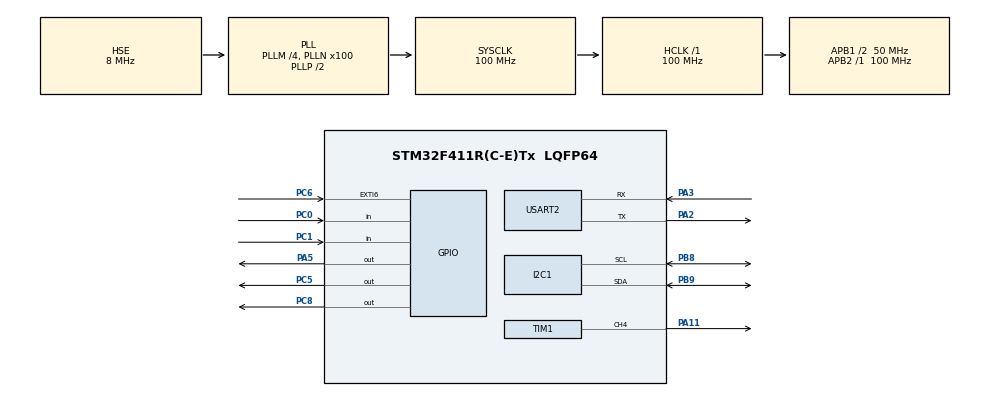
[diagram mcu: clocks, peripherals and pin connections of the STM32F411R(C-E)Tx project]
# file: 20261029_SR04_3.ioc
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Mcu.Family=STM32F4
Mcu.Name=STM32F411R(C-E)Tx
Mcu.Package=LQFP64
NVIC.EXTI9_5_IRQn=true\:0\:0\:false\:false\:true\:true\:true\:true
NVIC.PriorityGroup=NVIC_PRIORITYGROUP_4
PA11.Signal=S_TIM1_CH4
PA13.Mode=Serial_Wire
PA13.Signal=SYS_JTMS-SWDIO
PA14.Mode=Serial_Wire
PA14.Signal=SYS_JTCK-SWCLK
PA2.Mode=Asynchronous
PA2.Signal=USART2_TX
PA3.Mode=Asynchronous
PA3.Signal=USART2_RX
PA5.Signal=GPIO_Output
PB8.Mode=I2C
PB8.Signal=I2C1_SCL
PB9.Mode=I2C
PB9.Signal=I2C1_SDA
PC0.Signal=GPIO_Input
PC1.Signal=GPIO_Input
PC5.Signal=GPIO_Output
PC6.GPIO_ModeDefaultEXTI=GPIO_MODE_IT_RISING_FALLING
PC6.Signal=GPXTI6
PC8.Signal=GPIO_Output
PH0\ -\ OSC_IN.Mode=HSE-External-Oscillator
PH0\ -\ OSC_IN.Signal=RCC_OSC_IN
PH1\ -\ OSC_OUT.Mode=HSE-External-Oscillator
PH1\ -\ OSC_OUT.Signal=RCC_OSC_OUT
ProjectManager.HeapSize=0x200
ProjectManager.StackSize=0x400
ProjectManager.TargetToolchain=STM32CubeIDE
RCC.48MHZClocksFreq_Value=50000000
RCC.AHBFreq_Value=100000000
RCC.APB1CLKDivider=RCC_HCLK_DIV2
RCC.APB1Freq_Value=50000000
RCC.APB1TimFreq_Value=100000000
RCC.APB2Freq_Value=100000000
RCC.APB2TimFreq_Value=100000000
RCC.CortexFreq_Value=100000000
RCC.HCLKFreq_Value=100000000
RCC.HSE_VALUE=8000000
RCC.HSI_VALUE=16000000
RCC.LSE_VALUE=32768
RCC.PLLM=4
RCC.PLLN=100
RCC.PLLSourceVirtual=RCC_PLLSOURCE_HSE
RCC.SYSCLKFreq_VALUE=100000000
RCC.SYSCLKSource=RCC_SYSCLKSOURCE_PLLCLK
RCC.VCOOutputFreq_Value=200000000
SH.S_TIM1_CH4.0=TIM1_CH4,PWM Generation4 CH4
TIM1.AutoReloadPreload=TIM_AUTORELOAD_PRELOAD_ENABLE
TIM1.Channel-PWM\ Generation4\ CH4=TIM_CHANNEL_4
TIM1.Prescaler=100-1
TIM10.Prescaler=100-1
USART2.VirtualMode=VM_ASYNC
VP_TIM10_VS_ClockSourceINT.Mode=Enable_Timer
VP_TIM1_VS_ClockSourceINT.Mode=Internal
board=custom

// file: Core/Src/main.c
/* USER CODE BEGIN Header */
/**
 ******************************************************************************
 * @file           : main.c
 * @brief          : Main program body
 ******************************************************************************
 * @attention
 *
 * Copyright (c) 2026 STMicroelectronics.
 * All rights reserved.
 *
 * This software is licensed under terms that can be found in the LICENSE file
 * in the root directory of this software component.
 * If no LICENSE file comes with this software, it is provided AS-IS.
 *
 ******************************************************************************
 */
/* USER CODE END Header */
#include "main.h"

/* USER CODE BEGIN Includes */
#include "ap/ap_main.h"
#include "driver/button/button.h"
#include <stdio.h>
#include "star_walkin_notes.h"
/* USER CODE END Includes */

/* USER CODE BEGIN PD */
#define btn1_gpio GPIOC
#define btn1_pin GPIO_PIN_0
#define btn2_gpio GPIOC
#define btn2_pin GPIO_PIN_1
#define btn3_gpio GPIOC
#define btn3_pin GPIO_PIN_3
/* USER CODE END PD */

I2C_HandleTypeDef hi2c1;

TIM_HandleTypeDef htim1;
TIM_HandleTypeDef htim10;

UART_HandleTypeDef huart2;

void SystemClock_Config(void);
static void MX_GPIO_Init(void);
static void MX_USART2_UART_Init(void);
static void MX_I2C1_Init(void);
static void MX_TIM10_Init(void);
static void MX_TIM1_Init(void);

/* USER CODE BEGIN 0 */
/* TIM1 counter: 1 MHz. Zero Hz means silence. */
static void buzzer_set_hz(uint32_t hz, uint16_t duty)
{
    uint32_t period = hz ? (1000000U + hz / 2U) / hz : 1000U;
    __HAL_TIM_SET_AUTORELOAD(&htim1, period - 1U);
    __HAL_TIM_SET_COMPARE(&htim1, TIM_CHANNEL_4, hz ? period * duty / 100U : 0U);
    if (HAL_TIM_GenerateEvent(&htim1, TIM_EVENTSOURCE_UPDATE) != HAL_OK) {
        Error_Handler();
    }
}
//Needed for printf();
int __io_putchar(int ch) {
	HAL_UART_Transmit(&huart2, (uint8_t*) &ch, 1, HAL_MAX_DELAY);
	return ch;
}

/* USER CODE END 0 */

int main(void)
{

  /* MCU Configuration--------------------------------------------------------*/

  /* Reset of all peripherals, Initializes the Flash interface and the Systick. */
  HAL_Init();

  /* Configure the system clock */
  SystemClock_Config();

  /* Initialize all configured peripherals */
  MX_GPIO_Init();
  MX_USART2_UART_Init();
  MX_I2C1_Init();
  MX_TIM10_Init();
  MX_TIM1_Init();
  /* USER CODE BEGIN 2 */
// button structure declaration
    button_t btn_freq, btn_duty, btn_song;

  // Btn1 is allocated to PC0 to change frequency
  // Btn2 is allocated to PC1 to change duty cycle
  // Btn3 is allocated to PC3 to play song
    button_init(&btn_freq, btn1_gpio, btn1_pin);
    button_init(&btn_duty, btn2_gpio, btn2_pin);
    button_init(&btn_song, btn3_gpio, btn3_pin);

    // for play music
    uint8_t playing = 0, manual_enabled = 1;
    uint32_t started_ms = 0, note_index = 0;
    //default frequency, duty cycle
    uint32_t freq = 20U;
    uint16_t dutyCycle = 50U;

    uint32_t current_hz = freq;
    uint16_t current_duty = dutyCycle;

    buzzer_set_hz(freq, dutyCycle);
    if (HAL_TIM_PWM_Start(&htim1, TIM_CHANNEL_4) != HAL_OK) {
        Error_Handler();
    }
  /* USER CODE END 2 */

  /* Infinite loop */
  /* USER CODE BEGIN WHILE */
    printf("PC0: frequency, PC1: duty, PC3: song toggle\r\n");
    while (1)
    {
        if (button_getState(&btn_freq) == ACT_RELEASE) {
            freq += 100U + freq / 5U;
            if (freq > 20000U) {
                freq = 20U;
            }
            manual_enabled = 1;
            printf("freq = %lu Hz, duty = %u%%\r\n",
                   (unsigned long)freq, (unsigned int)dutyCycle);
        }
        if (button_getState(&btn_duty) == ACT_RELEASE) {
            dutyCycle += 10U;
            if (dutyCycle > 90U) {
                dutyCycle = 0U;
            }
            manual_enabled = 1;
            printf("freq = %lu Hz, duty = %u%%\r\n",
                   (unsigned long)freq, (unsigned int)dutyCycle);
        }
        if (button_getState(&btn_song) == ACT_RELEASE) {
            playing = !playing;
            manual_enabled = 0;
            if (playing) {
                note_index = 0;
                started_ms = HAL_GetTick();
            }
            printf("song = %s\r\n", playing ? "play" : "stop");
        }
        uint32_t hz = manual_enabled ? freq : 0U;
        if (playing) {
            uint32_t elapsed = HAL_GetTick() - started_ms;
            while (note_index < MELODY_COUNT && elapsed >= melody[note_index].end_ms) {
                note_index++;
            }
				hz = 0U;
            if (note_index == MELODY_COUNT) {
                playing = 0;
                manual_enabled = 0;
            } else if (elapsed >= melody[note_index].start_ms) {
                hz = melody[note_index].hz;
            }
        }
        if (hz != current_hz || dutyCycle != current_duty) {
            buzzer_set_hz(hz, dutyCycle);
            current_hz = hz;
            current_duty = dutyCycle;
        }
    }
    /* USER CODE END WHILE */

}

void SystemClock_Config(void)
{
  RCC_OscInitTypeDef RCC_OscInitStruct = {0};
  RCC_ClkInitTypeDef RCC_ClkInitStruct = {0};

  /** Configure the main internal regulator output voltage
  */
  __HAL_RCC_PWR_CLK_ENABLE();
  __HAL_PWR_VOLTAGESCALING_CONFIG(PWR_REGULATOR_VOLTAGE_SCALE1);

  /** Initializes the RCC Oscillators according to the specified parameters
  * in the RCC_OscInitTypeDef structure.
  */
  RCC_OscInitStruct.OscillatorType = RCC_OSCILLATORTYPE_HSE;
  RCC_OscInitStruct.HSEState = RCC_HSE_ON;
  RCC_OscInitStruct.PLL.PLLState = RCC_PLL_ON;
  RCC_OscInitStruct.PLL.PLLSource = RCC_PLLSOURCE_HSE;
  RCC_OscInitStruct.PLL.PLLM = 4;
  RCC_OscInitStruct.PLL.PLLN = 100;
  RCC_OscInitStruct.PLL.PLLP = RCC_PLLP_DIV2;
  RCC_OscInitStruct.PLL.PLLQ = 4;
  if (HAL_RCC_OscConfig(&RCC_OscInitStruct) != HAL_OK)
  {
    Error_Handler();
  }

  /** Initializes the CPU, AHB and APB buses clocks
  */
  RCC_ClkInitStruct.ClockType = RCC_CLOCKTYPE_HCLK|RCC_CLOCKTYPE_SYSCLK
                              |RCC_CLOCKTYPE_PCLK1|RCC_CLOCKTYPE_PCLK2;
  RCC_ClkInitStruct.SYSCLKSource = RCC_SYSCLKSOURCE_PLLCLK;
  RCC_ClkInitStruct.AHBCLKDivider = RCC_SYSCLK_DIV1;
  RCC_ClkInitStruct.APB1CLKDivider = RCC_HCLK_DIV2;
  RCC_ClkInitStruct.APB2CLKDivider = RCC_HCLK_DIV1;

  if (HAL_RCC_ClockConfig(&RCC_ClkInitStruct, FLASH_LATENCY_3) != HAL_OK)
  {
    Error_Handler();
  }
}

static void MX_I2C1_Init(void)
{

  hi2c1.Instance = I2C1;
  hi2c1.Init.ClockSpeed = 100000;
  hi2c1.Init.DutyCycle = I2C_DUTYCYCLE_2;
  hi2c1.Init.OwnAddress1 = 0;
  hi2c1.Init.AddressingMode = I2C_ADDRESSINGMODE_7BIT;
  hi2c1.Init.DualAddressMode = I2C_DUALADDRESS_DISABLE;
  hi2c1.Init.OwnAddress2 = 0;
  hi2c1.Init.GeneralCallMode = I2C_GENERALCALL_DISABLE;
  hi2c1.Init.NoStretchMode = I2C_NOSTRETCH_DISABLE;
  if (HAL_I2C_Init(&hi2c1) != HAL_OK)
  {
    Error_Handler();
  }

}

static void MX_TIM1_Init(void)
{

  TIM_ClockConfigTypeDef sClockSourceConfig = {0};
  TIM_MasterConfigTypeDef sMasterConfig = {0};
  TIM_OC_InitTypeDef sConfigOC = {0};
  TIM_BreakDeadTimeConfigTypeDef sBreakDeadTimeConfig = {0};

  htim1.Instance = TIM1;
  htim1.Init.Prescaler = 100-1;
  htim1.Init.CounterMode = TIM_COUNTERMODE_UP;
  htim1.Init.Period = 65535;
  htim1.Init.ClockDivision = TIM_CLOCKDIVISION_DIV1;
  htim1.Init.RepetitionCounter = 0;
  htim1.Init.AutoReloadPreload = TIM_AUTORELOAD_PRELOAD_ENABLE;
  if (HAL_TIM_Base_Init(&htim1) != HAL_OK)
  {
    Error_Handler();
  }
  sClockSourceConfig.ClockSource = TIM_CLOCKSOURCE_INTERNAL;
 if (HAL_TIM_ConfigClockSource(&htim1, &sClockSourceConfig) != HAL_OK)
  {
    Error_Handler();
  }
  if (HAL_TIM_PWM_Init(&htim1) != HAL_OK)
  {
    Error_Handler();
  }
  sMasterConfig.MasterOutputTrigger = TIM_TRGO_RESET;
  sMasterConfig.MasterSlaveMode = TIM_MASTERSLAVEMODE_DISABLE;
  if (HAL_TIMEx_MasterConfigSynchronization(&htim1, &sMasterConfig) != HAL_OK)
  {
    Error_Handler();
  }
  sConfigOC.OCMode = TIM_OCMODE_PWM1;
  sConfigOC.Pulse = 0;
  sConfigOC.OCPolarity = TIM_OCPOLARITY_HIGH;
  sConfigOC.OCFastMode = TIM_OCFAST_DISABLE;
  sConfigOC.OCIdleState = TIM_OCIDLESTATE_RESET;
  sConfigOC.OCNIdleState = TIM_OCNIDLESTATE_RESET;
  if (HAL_TIM_PWM_ConfigChannel(&htim1, &sConfigOC, TIM_CHANNEL_4) != HAL_OK)
  {
    Error_Handler();
  }
  sBreakDeadTimeConfig.OffStateRunMode = TIM_OSSR_DISABLE;
  sBreakDeadTimeConfig.OffStateIDLEMode = TIM_OSSI_DISABLE;
  sBreakDeadTimeConfig.LockLevel = TIM_LOCKLEVEL_OFF;
  sBreakDeadTimeConfig.DeadTime = 0;
  sBreakDeadTimeConfig.BreakState = TIM_BREAK_DISABLE;
  sBreakDeadTimeConfig.BreakPolarity = TIM_BREAKPOLARITY_HIGH;
  sBreakDeadTimeConfig.AutomaticOutput = TIM_AUTOMATICOUTPUT_DISABLE;
  if (HAL_TIMEx_ConfigBreakDeadTime(&htim1, &sBreakDeadTimeConfig) != HAL_OK)
  {
    Error_Handler();
  }
  HAL_TIM_MspPostInit(&htim1);

}

static void MX_TIM10_Init(void)
{

  htim10.Instance = TIM10;
  htim10.Init.Prescaler = 100-1;
  htim10.Init.CounterMode = TIM_COUNTERMODE_UP;
  htim10.Init.Period = 65535;
  htim10.Init.ClockDivision = TIM_CLOCKDIVISION_DIV1;
  htim10.Init.AutoReloadPreload = TIM_AUTORELOAD_PRELOAD_DISABLE;
  if (HAL_TIM_Base_Init(&htim10) != HAL_OK)
  {
    Error_Handler();
  }

}

static void MX_USART2_UART_Init(void)
{

  huart2.Instance = USART2;
  huart2.Init.BaudRate = 115200;
  huart2.Init.WordLength = UART_WORDLENGTH_8B;
  huart2.Init.StopBits = UART_STOPBITS_1;
  huart2.Init.Parity = UART_PARITY_NONE;
  huart2.Init.Mode = UART_MODE_TX_RX;
  huart2.Init.HwFlowCtl = UART_HWCONTROL_NONE;
  huart2.Init.OverSampling = UART_OVERSAMPLING_16;
  if (HAL_UART_Init(&huart2) != HAL_OK)
  {
    Error_Handler();
  }

}

static void MX_GPIO_Init(void)
{
  GPIO_InitTypeDef GPIO_InitStruct = {0};

  /* GPIO Ports Clock Enable */
  __HAL_RCC_GPIOH_CLK_ENABLE();
  __HAL_RCC_GPIOC_CLK_ENABLE();
  __HAL_RCC_GPIOA_CLK_ENABLE();
  __HAL_RCC_GPIOB_CLK_ENABLE();

  /*Configure GPIO pin Output Level */
  HAL_GPIO_WritePin(GPIOA, GPIO_PIN_5, GPIO_PIN_RESET);

  /*Configure GPIO pin Output Level */
  HAL_GPIO_WritePin(GPIOC, GPIO_PIN_5|GPIO_PIN_8, GPIO_PIN_RESET);

  /*Configure GPIO pins : PC0 PC1 */
  GPIO_InitStruct.Pin = GPIO_PIN_0|GPIO_PIN_1;
  GPIO_InitStruct.Mode = GPIO_MODE_INPUT;
  GPIO_InitStruct.Pull = GPIO_NOPULL;
  HAL_GPIO_Init(GPIOC, &GPIO_InitStruct);

  /*Configure GPIO pin : PA5 */
  GPIO_InitStruct.Pin = GPIO_PIN_5;
  GPIO_InitStruct.Mode = GPIO_MODE_OUTPUT_PP;
  GPIO_InitStruct.Pull = GPIO_NOPULL;
  GPIO_InitStruct.Speed = GPIO_SPEED_FREQ_LOW;
  HAL_GPIO_Init(GPIOA, &GPIO_InitStruct);

  /*Configure GPIO pins : PC5 PC8 */
  GPIO_InitStruct.Pin = GPIO_PIN_5|GPIO_PIN_8;
  GPIO_InitStruct.Mode = GPIO_MODE_OUTPUT_PP;
  GPIO_InitStruct.Pull = GPIO_NOPULL;
  GPIO_InitStruct.Speed = GPIO_SPEED_FREQ_LOW;
  HAL_GPIO_Init(GPIOC, &GPIO_InitStruct);

  /*Configure GPIO pin : PC6 */
  GPIO_InitStruct.Pin = GPIO_PIN_6;
  GPIO_InitStruct.Mode = GPIO_MODE_IT_RISING_FALLING;
  GPIO_InitStruct.Pull = GPIO_NOPULL;
  HAL_GPIO_Init(GPIOC, &GPIO_InitStruct);

  /* EXTI interrupt init*/
  HAL_NVIC_SetPriority(EXTI9_5_IRQn, 0, 0);
  //HAL_NVIC_EnableIRQ(EXTI9_5_IRQn);

  /* USER CODE BEGIN MX_GPIO_Init_2 */
  GPIO_InitStruct.Pin = GPIO_PIN_3;
  GPIO_InitStruct.Mode = GPIO_MODE_INPUT;
  GPIO_InitStruct.Pull = GPIO_PULLUP;
  HAL_GPIO_Init(GPIOC, &GPIO_InitStruct);

  /* USER CODE END MX_GPIO_Init_2 */
}

void Error_Handler(void)
{
	__disable_irq();
	while (1)
	{
	}
}
